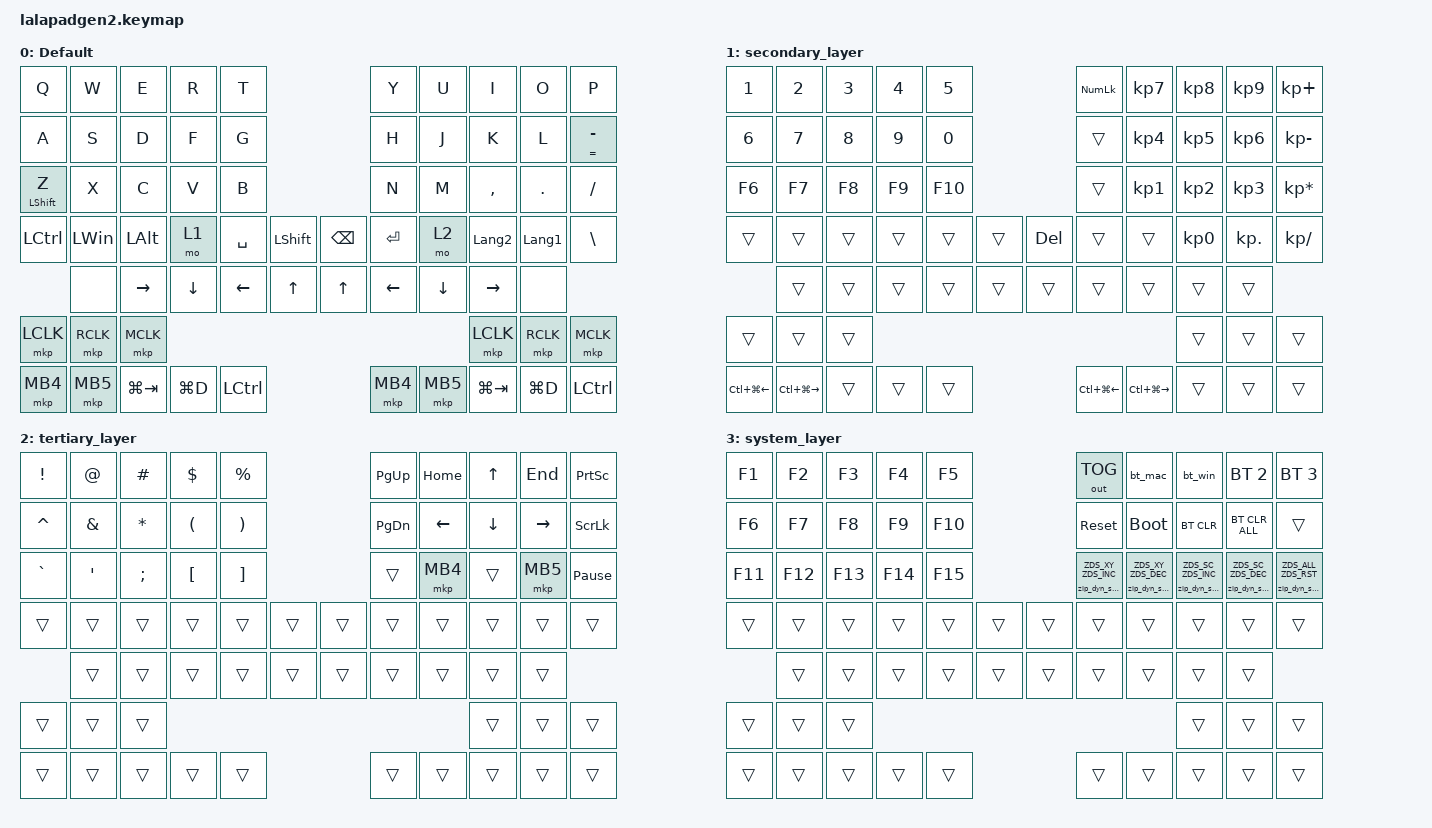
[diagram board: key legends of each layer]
#include <input/processors.dtsi>
#include <dt-bindings/zmk/zip_dynamic_scale.h>
#include <behaviors.dtsi>
#include <dt-bindings/zmk/bt.h>
#include <dt-bindings/zmk/keys.h>
#include <dt-bindings/zmk/outputs.h>
#include <dt-bindings/zmk/pointing.h>

#define DEFAULT_LAYER   0
#define SECONDARY_LAYER 1
#define TERTIARY_LAYER  2
#define SYSTEM_LAYER    3

// --- OS ごとのスクロールスケール設定 ---
// ペアリングに合わせて BT プロファイル番号を割り当てる
#define MAC_BT_PROFILE 0
#define WIN_BT_PROFILE 1

// スクロールスケール (x10 整数: 10 = 1.0x, 範囲 [2,50])
// 実効スクロール = (1 / zip_scroll_scaler の分母) * (値 / 10)
//   Mac: 2  -> 0.2x  (base 1/60 と合わせて net 1/300。macOS 側の加速分を相殺)
//   Win: 50 -> 5.0x  (base 1/60 と合わせて net 1/12)
#define MAC_SC_SCALE   2
#define WIN_SC_SCALE   50

&mt { quick-tap-ms = <200>; };

&lt { quick-tap-ms = <200>; };

/ {
    behaviors {
        zip_dyn_scale: zip_dyn_scale {
            compatible = "zmk,behavior-zip-dynamic-scale";
            #binding-cells = <2>;
        };

        zip_dyn_scale_set: zip_dyn_scale_set {
            compatible = "zmk,behavior-zip-dynamic-scale-set";
            #binding-cells = <2>;
        };

        mt2: mod_tap2 {
            compatible = "zmk,behavior-hold-tap";
            #binding-cells = <2>;
            flavor = "tap-preferred";
            tapping-term-ms = <200>;
            quick-tap-ms = <200>;
            require-prior-idle-ms = <125>;
            bindings = <&kp>, <&kp>;
        };

        tap_dance_layer_1and2: tap_dance_layer_1and2 {
            compatible = "zmk,behavior-tap-dance";
            label = "td_mo12";
            #binding-cells = <0>;
            bindings = <&mo 1>, <&mo 2>;
        };
    };

    macros {
        // BT プロファイルを Mac に切り替え + スクロールスケールを Mac 用にセット
        bt_mac: bt_mac {
            compatible = "zmk,behavior-macro";
            #binding-cells = <0>;
            bindings = <&macro_tap &bt BT_SEL MAC_BT_PROFILE &zip_dyn_scale_set ZDS_SC MAC_SC_SCALE>;
        };
        // BT プロファイルを Windows に切り替え + スクロールスケールを Win 用にセット
        bt_win: bt_win {
            compatible = "zmk,behavior-macro";
            #binding-cells = <0>;
            bindings = <&macro_tap &bt BT_SEL WIN_BT_PROFILE &zip_dyn_scale_set ZDS_SC WIN_SC_SCALE>;
        };
    };

    combos {
        compatible = "zmk,combos";

        CONBO_ESC {
            bindings = <&kp ESCAPE>;
            key-positions = <0 1>;
        };

        COMBO_TAB {
            bindings = <&kp TAB>;
            key-positions = <10 11>;
        };
    };

    keymap {
        compatible = "zmk,keymap";

        DEFAULT_LAYER {
            display-name = "Default";
            bindings = <
&kp Q              &kp W      &kp E         &kp R      &kp T                                     &kp Y      &kp U     &kp I           &kp O           &kp P
&kp A              &kp S      &kp D         &kp F      &kp G                                     &kp H      &kp J     &kp K           &kp L           &mt2 EQUAL MINUS
&mt2 LEFT_SHIFT Z  &kp X      &kp C         &kp V      &kp B                                     &kp N      &kp M     &kp COMMA       &kp PERIOD      &kp SLASH
&kp LCTRL          &kp LWIN   &kp LEFT_ALT  &mo 1      &kp SPACE  &kp LEFT_SHIFT  &kp BACKSPACE  &kp ENTER  &mo 2     &kp LANGUAGE_2  &kp LANGUAGE_1  &kp BACKSLASH
                   &none      &kp RIGHT     &kp DOWN   &kp LEFT   &kp UP          &kp UP         &kp LEFT   &kp DOWN  &kp RIGHT       &none
&mkp LCLK          &mkp RCLK  &mkp MCLK                                                                               &mkp LCLK       &mkp RCLK       &mkp MCLK
&mkp MB4           &mkp MB5   &kp LG(TAB)   &kp LG(D)  &kp LCTRL                                 &mkp MB4   &mkp MB5  &kp LG(TAB)     &kp LG(D)       &kp LCTRL
            >;
        };

        SECONDARY_LAYER {
            display-name = "secondary_layer";
            bindings = <
&kp NUMBER_1      &kp NUMBER_2       &kp NUMBER_3  &kp NUMBER_4  &kp N5                    &kp KP_NUMLOCK    &kp KP_NUMBER_7    &kp KP_NUMBER_8  &kp KP_NUMBER_9  &kp KP_PLUS
&kp NUMBER_6      &kp N7             &kp N8        &kp N9        &kp N0                    &trans            &kp KP_NUMBER_4    &kp KP_NUMBER_5  &kp KP_NUMBER_6  &kp KP_MINUS
&kp F6            &kp F7             &kp F8        &kp F9        &kp F10                   &trans            &kp KP_NUMBER_1    &kp KP_NUMBER_2  &kp KP_NUMBER_3  &kp KP_ASTERISK
&trans            &trans             &trans        &trans        &trans   &trans  &kp DEL  &trans            &trans             &kp KP_NUMBER_0  &kp KP_DOT       &kp KP_DIVIDE
                  &trans             &trans        &trans        &trans   &trans  &trans   &trans            &trans             &trans           &trans
&trans            &trans             &trans                                                                                     &trans           &trans           &trans
&kp LC(LG(LEFT))  &kp LC(LG(RIGHT))  &trans        &trans        &trans                    &kp LC(LG(LEFT))  &kp LC(LG(RIGHT))  &trans           &trans           &trans
            >;
        };

        TERTIARY_LAYER {
            display-name = "tertiary_layer";
            bindings = <
&kp EXCLAMATION  &kp AT_SIGN    &kp HASH      &kp DOLLAR            &kp PERCENT                            &kp PAGE_UP    &kp HOME  &kp UP_ARROW    &kp END    &kp PRINTSCREEN
&kp CARET        &kp AMPERSAND  &kp ASTERISK  &kp LEFT_PARENTHESIS  &kp RIGHT_PARENTHESIS                  &kp PAGE_DOWN  &kp LEFT  &kp DOWN_ARROW  &kp RIGHT  &kp SCROLLLOCK
&kp GRAVE        &kp SQT        &kp SEMI      &kp LEFT_BRACKET      &kp RIGHT_BRACKET                      &trans         &mkp MB4  &trans          &mkp MB5   &kp PAUSE_BREAK
&trans           &trans         &trans        &trans                &trans                 &trans  &trans  &trans         &trans    &trans          &trans     &trans
                 &trans         &trans        &trans                &trans                 &trans  &trans  &trans         &trans    &trans          &trans
&trans           &trans         &trans                                                                                              &trans          &trans     &trans
&trans           &trans         &trans        &trans                &trans                                 &trans         &trans    &trans          &trans     &trans
            >;
        };

        SYSTEM_LAYER {
            display-name = "system_layer";
            bindings = <
&kp F1   &kp F2   &kp F3   &kp F4   &kp F5                   &out OUT_TOG                   &bt_mac                        &bt_win                        &bt BT_SEL 2                   &bt BT_SEL 3
&kp F6   &kp F7   &kp F8   &kp F9   &kp F10                  &sys_reset                     &bootloader                    &bt BT_CLR                     &bt BT_CLR_ALL                 &trans
&kp F11  &kp F12  &kp F13  &kp F14  &kp F15                  &zip_dyn_scale ZDS_XY ZDS_INC  &zip_dyn_scale ZDS_XY ZDS_DEC  &zip_dyn_scale ZDS_SC ZDS_INC  &zip_dyn_scale ZDS_SC ZDS_DEC  &zip_dyn_scale ZDS_ALL ZDS_RST
&trans   &trans   &trans   &trans   &trans   &trans  &trans  &trans                         &trans                         &trans                         &trans                         &trans
         &trans   &trans   &trans   &trans   &trans  &trans  &trans                         &trans                         &trans                         &trans
&trans   &trans   &trans                                                                                                   &trans                         &trans                         &trans
&trans   &trans   &trans   &trans   &trans                   &trans                         &trans                         &trans                         &trans                         &trans
            >;
        };
    };

    conditional_layers {
        compatible = "zmk,conditional-layers";

        Cond_Syslayer {
            if-layers = <1 2>;
            then-layer = <3>;
        };
    };
};
